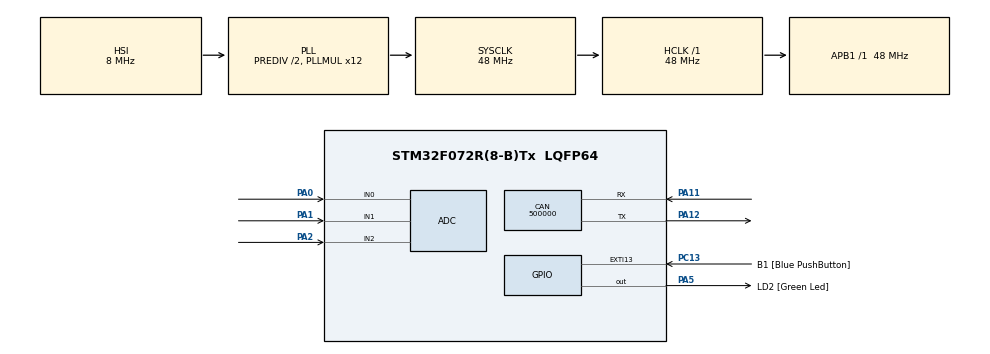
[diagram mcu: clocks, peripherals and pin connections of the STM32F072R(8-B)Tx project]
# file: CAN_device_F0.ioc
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ADC.ContinuousConvMode=ENABLE
ADC.SamplingTime=ADC_SAMPLETIME_239CYCLES_5
CAN.BS1=CAN_BS1_4TQ
CAN.CalculateBaudRate=500000
CAN.CalculateTimeBit=2000
CAN.CalculateTimeQuantum=333.3333333333333
Dma.ADC.0.Direction=DMA_PERIPH_TO_MEMORY
Dma.ADC.0.Instance=DMA1_Channel1
Dma.ADC.0.MemDataAlignment=DMA_MDATAALIGN_HALFWORD
Dma.ADC.0.MemInc=DMA_MINC_ENABLE
Dma.ADC.0.Mode=DMA_CIRCULAR
Dma.ADC.0.PeriphDataAlignment=DMA_PDATAALIGN_HALFWORD
Dma.ADC.0.PeriphInc=DMA_PINC_DISABLE
Dma.ADC.0.Priority=DMA_PRIORITY_LOW
Dma.Request0=ADC
FREERTOS.Queues01=queue_can_receive,10,CanPacket,0,Dynamic,NULL,NULL;queue_can_send,10,CanPacket,0,Dynamic,NULL,NULL;queue_process_data,10,SensorData,0,Dynamic,NULL,NULL
FREERTOS.Tasks01=defaultTask,-2,128,StartDefaultTask,Default,NULL,Dynamic,NULL,NULL;ReceiveCAN_MSG_,0,128,ReceiveCAN_MSG,As weak,NULL,Dynamic,NULL,NULL;SendCAN_MSG_,0,128,SendCAN_MSG,As weak,NULL,Dynamic,NULL,NULL;processDatatask,2,128,Process_data_task,As weak,NULL,Dynamic,NULL,NULL
FREERTOS.configTOTAL_HEAP_SIZE=6144
FREERTOS.configUSE_NEWLIB_REENTRANT=1
Mcu.Family=STM32F0
Mcu.Name=STM32F072R(8-B)Tx
Mcu.Package=LQFP64
NVIC.DMA1_Channel1_IRQn=true\:3\:0\:false\:false\:true\:true\:false\:true\:true
NVIC.TIM1_BRK_UP_TRG_COM_IRQn=true\:3\:0\:false\:false\:true\:false\:false\:true\:true
NVIC.TIM2_IRQn=true\:3\:0\:false\:false\:true\:true\:true\:true\:true
NVIC.TimeBase=TIM1_BRK_UP_TRG_COM_IRQn
NVIC.TimeBaseIP=TIM1
PA0.Mode=IN0
PA0.Signal=ADC_IN0
PA1.Mode=IN1
PA1.Signal=ADC_IN1
PA11.Mode=CAN_Activate
PA11.Signal=CAN_RX
PA12.Mode=CAN_Activate
PA12.Signal=CAN_TX
PA13.GPIO_Label=TMS
PA13.Signal=SYS_SWDIO
PA14.GPIO_Label=TCK
PA14.Signal=SYS_SWCLK
PA2.Mode=IN2
PA2.Signal=ADC_IN2
PA5.GPIO_Label=LD2 [Green Led]
PA5.GPIO_Mode=GPIO_MODE_OUTPUT_PP
PA5.GPIO_PuPd=GPIO_NOPULL
PA5.GPIO_Speed=GPIO_SPEED_FREQ_LOW
PA5.Signal=GPIO_Output
PC13.GPIO_Label=B1 [Blue PushButton]
PC13.GPIO_ModeDefaultEXTI=GPIO_MODE_IT_FALLING
PC13.Signal=GPXTI13
PC14-OSC32_IN.Signal=RCC_OSC32_IN
PC15-OSC32_OUT.Signal=RCC_OSC32_OUT
PF0-OSC_IN.Signal=RCC_OSC_IN
PF1-OSC_OUT.Signal=RCC_OSC_OUT
ProjectManager.HeapSize=0x200
ProjectManager.StackSize=0x400
ProjectManager.TargetToolchain=STM32CubeIDE
RCC.AHBFreq_Value=48000000
RCC.APB1Freq_Value=48000000
RCC.APB1TimFreq_Value=48000000
RCC.FLatency-AdvancedSettings=FLASH_LATENCY_1
RCC.HCLKFreq_Value=48000000
RCC.PLLDivider=RCC_PREDIV_DIV2
RCC.PLLMUL=RCC_PLL_MUL12
RCC.SYSCLKFreq_VALUE=48000000
RCC.SYSCLKSource=RCC_SYSCLKSOURCE_PLLCLK
TIM2.Period=5000
TIM2.Prescaler=48-1
VP_FREERTOS_VS_CMSIS_V1.Mode=CMSIS_V1
VP_SYS_VS_tim1.Mode=TIM1
VP_TIM2_VS_ClockSourceINT.Mode=Internal
board=NUCLEO-F072RB

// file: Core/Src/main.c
/* USER CODE BEGIN Header */
/**
  ******************************************************************************
  * @file           : main.c
  * @brief          : Main program body
  ******************************************************************************
  * @attention
  *
  * Copyright (c) 2024 STMicroelectronics.
  * All rights reserved.
  *
  * This software is licensed under terms that can be found in the LICENSE file
  * in the root directory of this software component.
  * If no LICENSE file comes with this software, it is provided AS-IS.
  *
  ******************************************************************************
  */
/* USER CODE END Header */
#include "main.h"
#include "cmsis_os.h"
#include "adc.h"
#include "can.h"
#include "dma.h"
#include "tim.h"
#include "gpio.h"

/* USER CODE BEGIN Includes */
#include "queue.h"
/* USER CODE END Includes */

/* USER CODE BEGIN PD */
#define BOARD_ID 1
#define SAMPLES_PER_CYCLE 64
#define OFFSET 1
#define CORRECTION_FACTOR 1
#define CAN_DEVICE_ID DEVICE_1
/* USER CODE END PD */

/* USER CODE BEGIN PV */

uint16_t adcint[4] = {0};
extern module_cfg configs;
bool aux = 0;
uint16_t adc_count = 0;

extern uint16_t bufferTensao[64];
extern uint16_t bufferTensaoVA[64];
extern uint16_t bufferTensaoVB[64];
extern uint16_t bufferTensaoVC[64];
extern osMessageQId queue_can_sendHandle;
extern osMessageQId queue_process_dataHandle;
SignalQ sgnalQual[3] = {0};
SensorData sensorData;

/* USER CODE END PV */

void SystemClock_Config(void);
void MX_FREERTOS_Init(void);

int main(void)
{

  /* MCU Configuration--------------------------------------------------------*/

  /* Reset of all peripherals, Initializes the Flash interface and the Systick. */
  HAL_Init();

  /* Configure the system clock */
  SystemClock_Config();

  /* Initialize all configured peripherals */
  MX_GPIO_Init();
  MX_DMA_Init();
  MX_ADC_Init();
  MX_CAN_Init();
  MX_TIM2_Init();
  /* USER CODE BEGIN 2 */
	HAL_TIM_Base_Start_IT(&htim2);

//	HAL_ADCEx_Calibration_Start(&hadc);
//	HAL_ADC_Start_DMA(&hadc, &adcint, 3);
  /* USER CODE END 2 */

  /* Call init function for freertos objects (in freertos.c) */
  MX_FREERTOS_Init();

  /* Start scheduler */
  osKernelStart();
  /* We should never get here as control is now taken by the scheduler */
  /* Infinite loop */
  while (1)
  {

  }
}

void SystemClock_Config(void)
{
  RCC_OscInitTypeDef RCC_OscInitStruct = {0};
  RCC_ClkInitTypeDef RCC_ClkInitStruct = {0};

  /** Initializes the RCC Oscillators according to the specified parameters
  * in the RCC_OscInitTypeDef structure.
  */
  RCC_OscInitStruct.OscillatorType = RCC_OSCILLATORTYPE_HSI|RCC_OSCILLATORTYPE_HSI14;
  RCC_OscInitStruct.HSIState = RCC_HSI_ON;
  RCC_OscInitStruct.HSI14State = RCC_HSI14_ON;
  RCC_OscInitStruct.HSICalibrationValue = RCC_HSICALIBRATION_DEFAULT;
  RCC_OscInitStruct.HSI14CalibrationValue = 16;
  RCC_OscInitStruct.PLL.PLLState = RCC_PLL_ON;
  RCC_OscInitStruct.PLL.PLLSource = RCC_PLLSOURCE_HSI;
  RCC_OscInitStruct.PLL.PLLMUL = RCC_PLL_MUL12;
  RCC_OscInitStruct.PLL.PREDIV = RCC_PREDIV_DIV2;
  if (HAL_RCC_OscConfig(&RCC_OscInitStruct) != HAL_OK)
  {
    Error_Handler();
  }

  /** Initializes the CPU, AHB and APB buses clocks
  */
  RCC_ClkInitStruct.ClockType = RCC_CLOCKTYPE_HCLK|RCC_CLOCKTYPE_SYSCLK
                              |RCC_CLOCKTYPE_PCLK1;
  RCC_ClkInitStruct.SYSCLKSource = RCC_SYSCLKSOURCE_PLLCLK;
  RCC_ClkInitStruct.AHBCLKDivider = RCC_SYSCLK_DIV1;
  RCC_ClkInitStruct.APB1CLKDivider = RCC_HCLK_DIV1;

  if (HAL_RCC_ClockConfig(&RCC_ClkInitStruct, FLASH_LATENCY_1) != HAL_OK)
  {
    Error_Handler();
  }
}

/* USER CODE BEGIN 4 */

void Process_data_task(void *argument)
{
  /* USER CODE BEGIN Process_data_task */
	uint16_t count = 0;
	SignalQ signalQ[3] = {0};
	SensorData sensorData = {0};

	Data data;
  /* Infinite loop */
  for(;;)
  {
	BaseType_t xStatus = xQueueReceive(queue_process_dataHandle, &sensorData, 0);
	if (xStatus == pdPASS)
	{
			// conseguiu tirar da fila
		calculate_analog(&data, &sensorData);
//		calculate_RMS(signalQ,&data);
//		calculate_Phase(signalQ,&data);
//		calculate_freq(signalQ,&data);
		count++;
		if (count == SAMPLES_PER_CYCLE)
		{
			MeanValues meanValues[3] = {0};
			calculate_mean(meanValues, signalQ);
			send_data_to_queue(meanValues);

			memset(signalQ, 0, sizeof(signalQ));
			count = 0;
		}
		memset(&sensorData, 0, sizeof(sensorData));
	}
    osDelay(1);
  }
  /* USER CODE END Process_data_task */
}

void calculate_analog(Data *data, SensorData *sensorData)
{
	for (int i = 0; i < SAMPLES_PER_CYCLE; i++)
	{
		data->sensorData_values[VA][i] = (( sensorData->sensorData_buff[VA][i] * MAX_ADC ) * MAX_ANALOG - OFFSET) * CORRECTION_FACTOR;
		data->sensorData_values[VB][i] = (( sensorData->sensorData_buff[VB][i] * MAX_ADC ) * MAX_ANALOG - OFFSET) * CORRECTION_FACTOR;
		data->sensorData_values[VC][i] = (( sensorData->sensorData_buff[VC][i] * MAX_ADC ) * MAX_ANALOG - OFFSET) * CORRECTION_FACTOR;
	}
}

void calculate_RMS(float RMS[], Data *data)
{
	float sum_square[3] = {0};

	for (int i = 0; i < SAMPLES_PER_CYCLE; i++)
	{
		sum_square[VA] += data->sensorData_values[VA][i];
		sum_square[VB] += data->sensorData_values[VB][i];
	    sum_square[VC] += data->sensorData_values[VC][i];
	}
	RMS[VA] = sqrt(sum_square[VA] / SAMPLES_PER_CYCLE);
	RMS[VB] = sqrt(sum_square[VB] / SAMPLES_PER_CYCLE);
	RMS[VC] = sqrt(sum_square[VC] / SAMPLES_PER_CYCLE);
}

void calculate_Phase(SensorData *data)
{

}

void fill_data(CanPacket *message, MeanValues values)
{
	message->packet.canBuffer.canDataFields.data[0] = (uint8_t)( ( (uint16_t)values.meanRMS >> 8) & 0xFF);
	message->packet.canBuffer.canDataFields.data[1] = (uint8_t)(   (uint16_t)values.meanRMS & 0xFF );

	message->packet.canBuffer.canDataFields.data[2] = (uint8_t)( ( (uint16_t)values.meanPhase >> 8) & 0xFF);
	message->packet.canBuffer.canDataFields.data[3] = (uint8_t)(   (uint16_t)values.meanPhase & 0xFF );

	message->packet.canBuffer.canDataFields.data[4] = (uint8_t)( ( (uint16_t)values.meanFreq >> 8) & 0xFF);
	message->packet.canBuffer.canDataFields.data[5] = (uint8_t)(   (uint16_t)values.meanFreq & 0xFF );

	// teste correto da conversao para 2 uint8_t e ao contrario
//    uint16_t testeint;
//    uint8_t teste8;
//    uint8_t teste82;
//    float f = 1145.56;
//    teste8 = (uint8_t)(((uint16_t)f >> 8) & 0xFF);
//    teste82 = (uint8_t)((uint16_t)f  & 0xFF);
//    printf("%d", ((uint16_t)teste8 << 8) |  teste82 );
}

void send_data_to_queue(MeanValues values[])
{
	CanPacket message = {0};

	for (int i = 0; i < 3; i++)
	{
		message.packet.canID = CAN_DEVICE_ID;
		message.packet.canBuffer.canDataFields.ctrl0.value = 0; //revisar
		message.packet.canBuffer.canDataFields.ctrl1.value = i; //numero do sensor

		fill_data(&message, values[i]); // a cada tensao (a b c) envia uma mensagem can com rms, fase e freq

		BaseType_t xStatus = xQueueSendToBackFromISR(queue_can_sendHandle, &message, 0);
		if (xStatus != pdPASS)
		{
	//			fila estourou
		}
		HAL_Delay(1);
	}
}

void calculate_mean(MeanValues meanValues[3] , SignalQ signalQ[3])
{
	float sumValues[3][3] = {0};
	for (int i = 0; i < 60; i++)
	{
		sumValues[VA][0]  += signalQ[VA].rms[i];
		sumValues[VA][1]  += signalQ[VB].phase[i];
		sumValues[VA][2]  += signalQ[VC].freq[i];

		sumValues[VB][0]  += signalQ[VA].rms[i];
		sumValues[VB][1]  += signalQ[VB].phase[i];
		sumValues[VB][2]  += signalQ[VC].freq[i];

		sumValues[VC][0]  += signalQ[VA].rms[i];
		sumValues[VC][1]  += signalQ[VB].phase[i];
		sumValues[VC][2]  += signalQ[VC].freq[i];
	}
	meanValues[VA].meanRMS   = sumValues[VA][0] / 64;
	meanValues[VA].meanPhase = sumValues[VA][1] / 64;
	meanValues[VA].meanFreq  = sumValues[VA][2] / 64;

	meanValues[VB].meanRMS   = sumValues[VB][0] / 64;
	meanValues[VB].meanPhase = sumValues[VB][1] / 64;
	meanValues[VB].meanFreq  = sumValues[VB][2] / 64;

	meanValues[VC].meanRMS   = sumValues[VC][0] / 64;
	meanValues[VC].meanPhase = sumValues[VC][1] / 64;
	meanValues[VC].meanFreq  = sumValues[VC][2] / 64;
}

/* USER CODE END 4 */

void HAL_TIM_PeriodElapsedCallback(TIM_HandleTypeDef *htim)
{
  if (htim->Instance == TIM1) {
    HAL_IncTick();
  }
  /* USER CODE BEGIN Callback 1 */
	if(htim->Instance==TIM2)
	{
		if (adc_count < SAMPLES_PER_CYCLE)
		{
			sensorData.sensorData_buff[VA][adc_count] = bufferTensaoVA[adc_count];
			sensorData.sensorData_buff[VB][adc_count] = bufferTensaoVB[adc_count];
			sensorData.sensorData_buff[VC][adc_count] = bufferTensaoVC[adc_count];
			adc_count++;
			if (adc_count == 64)
			{
				BaseType_t xStatus = xQueueSendToBackFromISR(queue_process_dataHandle, &sensorData.sensorData_buff, 0);
				if (xStatus != pdPASS)
				{
//				 	fila estourou
				}
				aux = 1;
				adc_count = 0;
			}
		}
	}
  /* USER CODE END Callback 1 */
}

void Error_Handler(void)
{
  /* USER CODE BEGIN Error_Handler_Debug */
  /* User can add his own implementation to report the HAL error return state */
  __disable_irq();
  while (1)
  {
//	  NVIC_SystemReset();
  }
  /* USER CODE END Error_Handler_Debug */
}

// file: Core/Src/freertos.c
/* USER CODE BEGIN Header */
/**
  ******************************************************************************
  * File Name          : freertos.c
  * Description        : Code for freertos applications
  ******************************************************************************
  * @attention
  *
  * Copyright (c) 2024 STMicroelectronics.
  * All rights reserved.
  *
  * This software is licensed under terms that can be found in the LICENSE file
  * in the root directory of this software component.
  * If no LICENSE file comes with this software, it is provided AS-IS.
  *
  ******************************************************************************
  */
/* USER CODE END Header */

#include "FreeRTOS.h"
#include "task.h"
#include "main.h"
#include "cmsis_os.h"

osThreadId defaultTaskHandle;
osThreadId ReceiveCAN_MSG_Handle;
osThreadId SendCAN_MSG_Handle;
osThreadId processDatataskHandle;
osMessageQId queue_can_receiveHandle;
osMessageQId queue_can_sendHandle;
osMessageQId queue_process_dataHandle;

void StartDefaultTask(void const * argument);
void ReceiveCAN_MSG(void const * argument);
void SendCAN_MSG(void const * argument);
void Process_data_task(void const * argument);

void MX_FREERTOS_Init(void); /* (MISRA C 2004 rule 8.1) */

/* GetIdleTaskMemory prototype (linked to static allocation support) */
void vApplicationGetIdleTaskMemory( StaticTask_t **ppxIdleTaskTCBBuffer, StackType_t **ppxIdleTaskStackBuffer, uint32_t *pulIdleTaskStackSize );

/* USER CODE BEGIN GET_IDLE_TASK_MEMORY */
static StaticTask_t xIdleTaskTCBBuffer;
static StackType_t xIdleStack[configMINIMAL_STACK_SIZE];

void vApplicationGetIdleTaskMemory( StaticTask_t **ppxIdleTaskTCBBuffer, StackType_t **ppxIdleTaskStackBuffer, uint32_t *pulIdleTaskStackSize )
{
  *ppxIdleTaskTCBBuffer = &xIdleTaskTCBBuffer;
  *ppxIdleTaskStackBuffer = &xIdleStack[0];
  *pulIdleTaskStackSize = configMINIMAL_STACK_SIZE;
  /* place for user code */
}
/* USER CODE END GET_IDLE_TASK_MEMORY */

void MX_FREERTOS_Init(void) {

  /* Create the queue(s) */
  /* definition and creation of queue_can_receive */
  osMessageQDef(queue_can_receive, 10, CanPacket);
  queue_can_receiveHandle = osMessageCreate(osMessageQ(queue_can_receive), NULL);

  /* definition and creation of queue_can_send */
  osMessageQDef(queue_can_send, 10, CanPacket);
  queue_can_sendHandle = osMessageCreate(osMessageQ(queue_can_send), NULL);

  /* definition and creation of queue_process_data */
  osMessageQDef(queue_process_data, 10, SensorData);
  queue_process_dataHandle = osMessageCreate(osMessageQ(queue_process_data), NULL);

  /* Create the thread(s) */
  /* definition and creation of defaultTask */
  osThreadDef(defaultTask, StartDefaultTask, osPriorityLow, 0, 128);
  defaultTaskHandle = osThreadCreate(osThread(defaultTask), NULL);

  /* definition and creation of ReceiveCAN_MSG_ */
  osThreadDef(ReceiveCAN_MSG_, ReceiveCAN_MSG, osPriorityNormal, 0, 128);
  ReceiveCAN_MSG_Handle = osThreadCreate(osThread(ReceiveCAN_MSG_), NULL);

  /* definition and creation of SendCAN_MSG_ */
  osThreadDef(SendCAN_MSG_, SendCAN_MSG, osPriorityNormal, 0, 128);
  SendCAN_MSG_Handle = osThreadCreate(osThread(SendCAN_MSG_), NULL);

  /* definition and creation of processDatatask */
  osThreadDef(processDatatask, Process_data_task, osPriorityHigh, 0, 128);
  processDatataskHandle = osThreadCreate(osThread(processDatatask), NULL);

}

void StartDefaultTask(void const * argument)
{
  for(;;)
  {
    osDelay(1);
  }
}

__weak void ReceiveCAN_MSG(void const * argument)
{
  for(;;)
  {
    osDelay(1);
  }
}

__weak void SendCAN_MSG(void const * argument)
{
  for(;;)
  {
    osDelay(1);
  }
}

__weak void Process_data_task(void const * argument)
{
  for(;;)
  {
    osDelay(1);
  }
}
